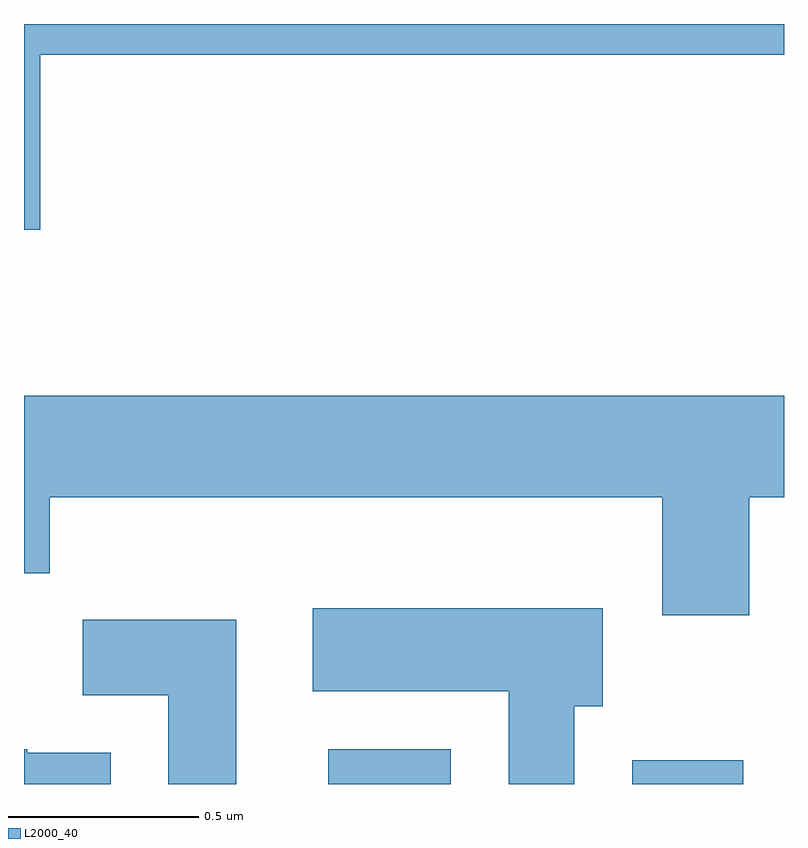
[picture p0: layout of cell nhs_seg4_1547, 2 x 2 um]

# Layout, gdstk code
import gdstk
lib = gdstk.Library(unit=1e-6, precision=1e-09)
def R(c, l, rs):  # rectangles x0, y0, x1, y1
    for r in rs: c.add(gdstk.rectangle(r[:2], r[2:], *l))
def P(c, l, *ps):  # polygons
    for p in ps: c.add(gdstk.Polygon(p, *l))
L2000_40 = (2000, 40)

nhs_seg4_1547 = lib.new_cell('nhs_seg4_1547')
R(nhs_seg4_1547, L2000_40, [(197.411,1293.982,197.734,1294.074), (198.211,1293.982,198.504,1294.044)])
P(nhs_seg4_1547, L2000_40, [(196.654,1295.901),(198.611,1295.901),(198.611,1295.982),(196.611,1295.982),(196.611,1295.441),(196.654,1295.441)],
  [(198.519,1294.736),(198.611,1294.736),(198.611,1295.004),(196.611,1295.004),(196.611,1294.536),(196.679,1294.536),(196.679,1294.736),(198.291,1294.736),(198.291,1294.426),(198.519,1294.426)],
  [(198.059,1294.186),(198.134,1294.186),(198.134,1294.444),(197.371,1294.444),(197.371,1294.226),(197.886,1294.226),(197.886,1293.982),(198.059,1293.982)],
  [(197.169,1294.414),(196.766,1294.414),(196.766,1294.216),(196.991,1294.216),(196.991,1293.982),(197.169,1293.982)],
  [(196.839,1294.064),(196.62,1294.064),(196.62,1294.074),(196.611,1294.074),(196.611,1293.982),(196.839,1293.982)])

lib.write_gds('nhs_seg4_1547.gds')
